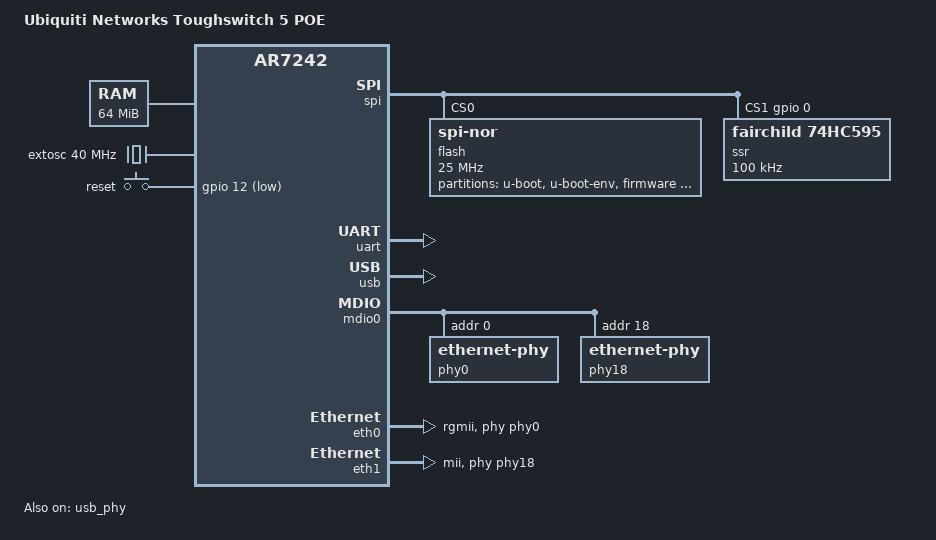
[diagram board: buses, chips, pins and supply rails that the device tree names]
// SPDX-License-Identifier: GPL-2.0-or-later OR MIT
/dts-v1/;

#include <dt-bindings/gpio/gpio.h>
#include <dt-bindings/input/input.h>

#include "ar7242.dtsi"

/ {
	compatible = "ubnt,toughswitch-5-poe", "qca,ar7242";
	model = "Ubiquiti Networks Toughswitch 5 POE";

	memory@0 {
		device_type = "memory";
		reg = <0x0 0x4000000>;
	};

	extosc: ref {
		compatible = "fixed-clock";
		#clock-cells = <0>;
		clock-frequency = <40000000>;
	};

	keys {
		compatible = "gpio-keys-polled";
		#address-cells = <1>;
		#size-cells = <0>;
		poll-interval = <100>;

		button@0 {
			label = "reset";
			linux,code = <KEY_RESTART>;
			gpios = <&gpio 12 GPIO_ACTIVE_LOW>;
		};
	};
};

&pll {
	clocks = <&extosc>;
};

&spi {
	status = "okay";
	//num-cs = <1>;
	num-cs = <2>;
	cs-gpios = <0>, <&gpio 0 0>;

	flash@0 {
		#address-cells = <1>;
		#size-cells = <1>;
		compatible = "jedec,spi-nor";
		reg = <0>;
		spi-max-frequency = <25000000>;

		partitions {
			compatible = "fixed-partitions";
			#address-cells = <1>;
			#size-cells = <1>;

			partition@0 {
				reg = <0x0 0x40000>;
				label = "u-boot";
				read-only;
			};

			partition@40000 {
				reg = <0x40000 0x10000>;
				label = "u-boot-env";
				read-only;
			};

			partition@50000 {
				reg = <0x50000 0x760000>;
				label = "firmware";
			};

			partition@7b0000 {
				reg = <0x7b0000 0x40000>;
				label = "cfg";
				read-only;
			};

			eeprom: partition@7f0000 {
				reg = <0x7f0000 0x10000>;
				label = "EEPROM";
				read-only;
			};
		};
	};

	ssr: ssr@0 {
		compatible = "fairchild,74hc595";
		reg = <1>;
		gpio-controller;
		#gpio-cells = <2>;
		registers-number = <2>;
		spi-max-frequency = <100000>;
	};
};

&uart {
	status = "okay";
};

&usb_phy {
	status = "okay";
};

&usb {
	status = "okay";
};

&mdio0 {
	status = "okay";

	phy-mask = <18>;
	phy0: ethernet-phy@0 {
		reg = <0>;
		phy-mode = "rgmii";

		qca,ar8327-initvals = <
			0x0004 0x7600000 /* PAD0_MODE */
			0x0008 0x0000000 /* PAD5_MODE */
			0x000c 0x7600000 /* PAD6_MODE */
			0x0010 0x40000000 /* POWER_ON_STRIP */
			0x0050 0xcc35cc35 /* LED_CTRL0 */
			0x0054 0xca35ca35 /* LED_CTRL1 */
			0x0058 0xc935c935 /* LED_CTRL2 */
			0x005c 0x3ffff00 /* LED_CTRL3 */
			0x007c 0x000007e /* PORT0_STATUS */
			0x0094 0x000007e /* PORT6_STATUS */
		>;
	};

	phy18: ethernet-phy@18 {
		reg = <18>;
		phy-mode = "mii";
	};
};

&eth0 {
	status = "okay";

	phy-mode = "rgmii";
	phy-handle = <&phy0>;
	mtd-mac-address = <&eeprom 0x0>;
};

&eth1 {
	status = "okay";

	mtd-mac-address = <&eeprom 0x6>;
	phy-mode = "mii";
	phy-handle = <&phy18>;
	
	/*fixed-link {
		speed = <100>;
		full-duplex;
	};*/
};
